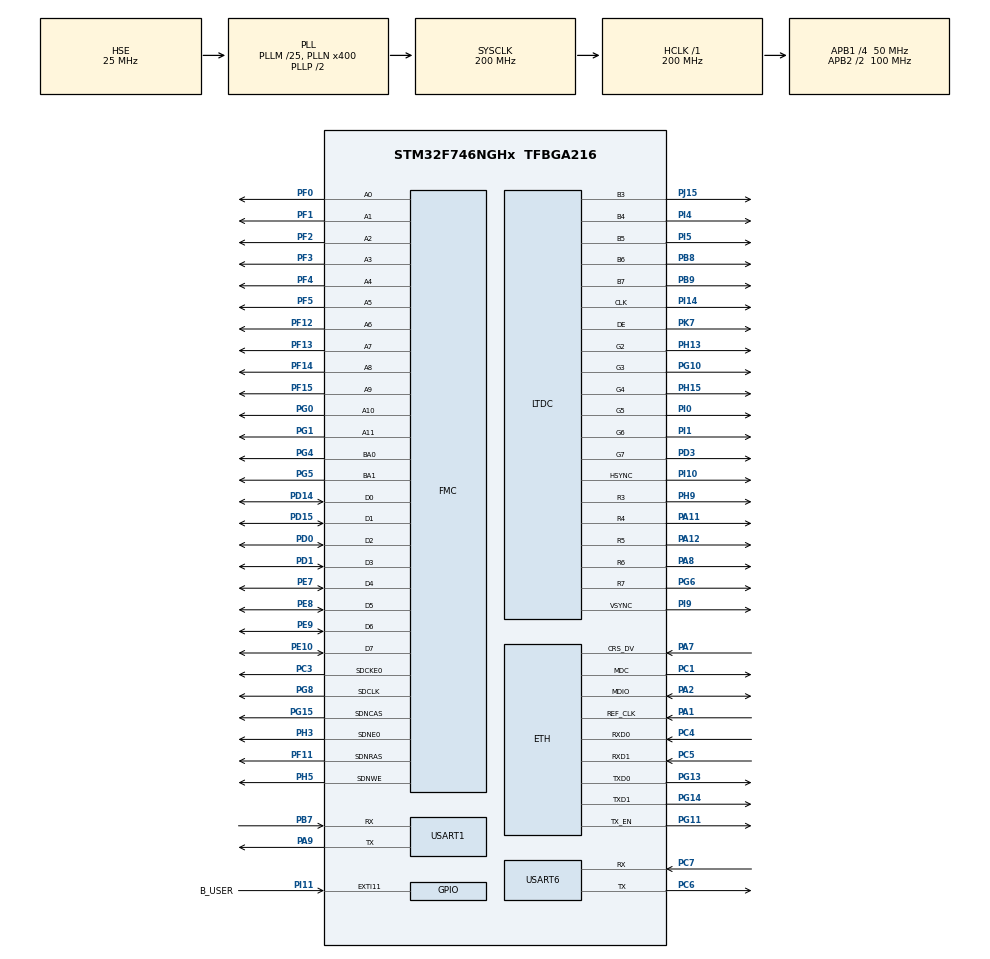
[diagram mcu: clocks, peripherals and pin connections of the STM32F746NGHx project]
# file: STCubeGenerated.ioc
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CORTEX_M7.AccessPermission-Cortex_Memory_Protection_Unit_Region0_Settings=MPU_REGION_FULL_ACCESS
CORTEX_M7.AccessPermission-Cortex_Memory_Protection_Unit_Region1_Settings=MPU_REGION_FULL_ACCESS
CORTEX_M7.AccessPermission-Cortex_Memory_Protection_Unit_Region2_Settings=MPU_REGION_FULL_ACCESS
CORTEX_M7.BaseAddress-Cortex_Memory_Protection_Unit_Region0_Settings=0x20000000
CORTEX_M7.BaseAddress-Cortex_Memory_Protection_Unit_Region1_Settings=0x2004C000
CORTEX_M7.BaseAddress-Cortex_Memory_Protection_Unit_Region2_Settings=0xC0000000
CORTEX_M7.CPU_DCache=Enabled
CORTEX_M7.CPU_ICache=Enabled
CORTEX_M7.DisableExec-Cortex_Memory_Protection_Unit_Region0_Settings=MPU_INSTRUCTION_ACCESS_DISABLE
CORTEX_M7.DisableExec-Cortex_Memory_Protection_Unit_Region1_Settings=MPU_INSTRUCTION_ACCESS_DISABLE
CORTEX_M7.DisableExec-Cortex_Memory_Protection_Unit_Region2_Settings=MPU_INSTRUCTION_ACCESS_DISABLE
CORTEX_M7.Enable-Cortex_Memory_Protection_Unit_Region0_Settings=MPU_REGION_ENABLE
CORTEX_M7.Enable-Cortex_Memory_Protection_Unit_Region1_Settings=MPU_REGION_ENABLE
CORTEX_M7.Enable-Cortex_Memory_Protection_Unit_Region2_Settings=MPU_REGION_ENABLE
CORTEX_M7.IsBufferable-Cortex_Memory_Protection_Unit_Region0_Settings=MPU_ACCESS_BUFFERABLE
CORTEX_M7.IsCacheable-Cortex_Memory_Protection_Unit_Region0_Settings=MPU_ACCESS_CACHEABLE
CORTEX_M7.IsShareable-Cortex_Memory_Protection_Unit_Region0_Settings=MPU_ACCESS_NOT_SHAREABLE
CORTEX_M7.MPU_Control=MPU_PRIVILEGED_DEFAULT
CORTEX_M7.Size-Cortex_Memory_Protection_Unit_Region0_Settings=MPU_REGION_SIZE_512KB
CORTEX_M7.Size-Cortex_Memory_Protection_Unit_Region1_Settings=MPU_REGION_SIZE_16KB
CORTEX_M7.Size-Cortex_Memory_Protection_Unit_Region2_Settings=MPU_REGION_SIZE_16MB
CORTEX_M7.TypeExtField-Cortex_Memory_Protection_Unit_Region0_Settings=MPU_TEX_LEVEL1
CORTEX_M7.TypeExtField-Cortex_Memory_Protection_Unit_Region1_Settings=MPU_TEX_LEVEL1
CORTEX_M7.TypeExtField-Cortex_Memory_Protection_Unit_Region2_Settings=MPU_TEX_LEVEL1
ETH.MediaInterface=HAL_ETH_RMII_MODE
Mcu.Family=STM32F7
Mcu.Name=STM32F746NGHx
Mcu.Package=TFBGA216
NVIC.ETH_IRQn=true\:0\:0\:false\:false\:false\:true\:true\:true
NVIC.EXTI15_10_IRQn=true\:0\:0\:false\:false\:true\:true\:true\:true
NVIC.PriorityGroup=NVIC_PRIORITYGROUP_4
NVIC.USART1_IRQn=true\:0\:0\:false\:false\:true\:true\:true\:true
NVIC.USART6_IRQn=true\:0\:0\:false\:false\:true\:true\:true\:true
PA1.Mode=RMII
PA1.Signal=ETH_REF_CLK
PA11.Mode=RGB565
PA11.Signal=LTDC_R4
PA12.Mode=RGB565
PA12.Signal=LTDC_R5
PA2.Mode=RMII
PA2.Signal=ETH_MDIO
PA7.Mode=RMII
PA7.Signal=ETH_CRS_DV
PA8.Mode=RGB565
PA8.Signal=LTDC_R6
PA9.Mode=Asynchronous
PA9.Signal=USART1_TX
PB7.Mode=Asynchronous
PB7.Signal=USART1_RX
PB8.Mode=RGB565
PB8.Signal=LTDC_B6
PB9.Mode=RGB565
PB9.Signal=LTDC_B7
PC1.Mode=RMII
PC1.Signal=ETH_MDC
PC3.Mode=SdramChipSelect1_1
PC3.Signal=FMC_SDCKE0
PC4.Mode=RMII
PC4.Signal=ETH_RXD0
PC5.Mode=RMII
PC5.Signal=ETH_RXD1
PC6.Mode=Asynchronous
PC6.Signal=USART6_TX
PC7.Mode=Asynchronous
PC7.Signal=USART6_RX
PD0.Signal=FMC_D2_DA2
PD1.Signal=FMC_D3_DA3
PD10.Signal=FMC_D15_DA15
PD11.Signal=FMC_A16_CLE
PD14.Signal=FMC_D0_DA0
PD15.Signal=FMC_D1_DA1
PD3.Mode=RGB565
PD3.Signal=LTDC_G7
PD8.Signal=FMC_D13_DA13
PD9.Signal=FMC_D14_DA14
PE0.Signal=FMC_NBL0
PE1.Signal=FMC_NBL1
PE10.Signal=FMC_D7_DA7
PE11.Signal=FMC_D8_DA8
PE12.Signal=FMC_D9_DA9
PE13.Signal=FMC_D10_DA10
PE14.Signal=FMC_D11_DA11
PE15.Signal=FMC_D12_DA12
PE7.Signal=FMC_D4_DA4
PE8.Signal=FMC_D5_DA5
PE9.Signal=FMC_D6_DA6
PF0.Signal=FMC_A0
PF1.Signal=FMC_A1
PF11.Signal=FMC_SDNRAS
PF12.Signal=FMC_A6
PF13.Signal=FMC_A7
PF14.Signal=FMC_A8
PF15.Signal=FMC_A9
PF2.Signal=FMC_A2
PF3.Signal=FMC_A3
PF4.Signal=FMC_A4
PF5.Signal=FMC_A5
PG0.Signal=FMC_A10
PG1.Signal=FMC_A11
PG10.Mode=RGB565
PG10.Signal=LTDC_G3
PG11.Mode=RMII
PG11.Signal=ETH_TX_EN
PG13.Mode=RMII
PG13.Signal=ETH_TXD0
PG14.Mode=RMII
PG14.Signal=ETH_TXD1
PG15.Signal=FMC_SDNCAS
PG4.Signal=FMC_A14_BA0
PG5.Signal=FMC_A15_BA1
PG6.Mode=RGB565
PG6.Signal=LTDC_R7
PG8.Signal=FMC_SDCLK
PH0/OSC_IN.Mode=HSE-External-Oscillator
PH0/OSC_IN.Signal=RCC_OSC_IN
PH1/OSC_OUT.Mode=HSE-External-Oscillator
PH1/OSC_OUT.Signal=RCC_OSC_OUT
PH13.Mode=RGB565
PH13.Signal=LTDC_G2
PH15.Mode=RGB565
PH15.Signal=LTDC_G4
PH3.Mode=SdramChipSelect1_1
PH3.Signal=FMC_SDNE0
PH5.Signal=FMC_SDNWE
PH9.Mode=RGB565
PH9.Signal=LTDC_R3
PI0.Mode=RGB565
PI0.Signal=LTDC_G5
PI1.Mode=RGB565
PI1.Signal=LTDC_G6
PI10.Mode=RGB565
PI10.Signal=LTDC_HSYNC
PI11.GPIO_Label=B_USER
PI11.Signal=GPXTI11
PI14.Mode=RGB565
PI14.Signal=LTDC_CLK
PI4.Mode=RGB565
PI4.Signal=LTDC_B4
PI5.Mode=RGB565
PI5.Signal=LTDC_B5
PI9.Mode=RGB565
PI9.Signal=LTDC_VSYNC
PJ15.Mode=RGB565
PJ15.Signal=LTDC_B3
PK7.Mode=RGB565
PK7.Signal=LTDC_DE
ProjectManager.HeapSize=0x200
ProjectManager.StackSize=0x400
ProjectManager.TargetToolchain=MDK-ARM V5
RCC.AHBFreq_Value=200000000
RCC.APB1CLKDivider=RCC_HCLK_DIV4
RCC.APB1Freq_Value=50000000
RCC.APB1TimFreq_Value=100000000
RCC.APB2CLKDivider=RCC_HCLK_DIV2
RCC.APB2Freq_Value=100000000
RCC.APB2TimFreq_Value=200000000
RCC.CortexFreq_Value=200000000
RCC.HCLKFreq_Value=200000000
RCC.HSE_VALUE=25000000
RCC.HSI_VALUE=16000000
RCC.LSE_VALUE=32768
RCC.PLLM=25
RCC.PLLN=400
RCC.PLLSAIRDiv=RCC_PLLSAIDIVR_4
RCC.PLLSourceVirtual=RCC_PLLSOURCE_HSE
RCC.SYSCLKFreq_VALUE=200000000
RCC.SYSCLKSource=RCC_SYSCLKSOURCE_PLLCLK
RCC.USBFreq_Value=200000000
RCC.VCOOutputFreq_Value=400000000
SH.FMC_A0.0=FMC_A0,12b-sda1
SH.FMC_A1.0=FMC_A1,12b-sda1
SH.FMC_A10.0=FMC_A10,12b-sda1
SH.FMC_A11.0=FMC_A11,12b-sda1
SH.FMC_A14_BA0.0=FMC_BA0,FourSdramBanks1
SH.FMC_A15_BA1.0=FMC_BA1,FourSdramBanks1
SH.FMC_A16_CLE.0=FMC_A16
SH.FMC_A2.0=FMC_A2,12b-sda1
SH.FMC_A3.0=FMC_A3,12b-sda1
SH.FMC_A4.0=FMC_A4,12b-sda1
SH.FMC_A5.0=FMC_A5,12b-sda1
SH.FMC_A6.0=FMC_A6,12b-sda1
SH.FMC_A7.0=FMC_A7,12b-sda1
SH.FMC_A8.0=FMC_A8,12b-sda1
SH.FMC_A9.0=FMC_A9,12b-sda1
SH.FMC_D0_DA0.0=FMC_D0,sd-8b-d1
SH.FMC_D10_DA10.0=FMC_D10
SH.FMC_D11_DA11.0=FMC_D11
SH.FMC_D12_DA12.0=FMC_D12
SH.FMC_D13_DA13.0=FMC_D13
SH.FMC_D14_DA14.0=FMC_D14
SH.FMC_D15_DA15.0=FMC_D15
SH.FMC_D1_DA1.0=FMC_D1,sd-8b-d1
SH.FMC_D2_DA2.0=FMC_D2,sd-8b-d1
SH.FMC_D3_DA3.0=FMC_D3,sd-8b-d1
SH.FMC_D4_DA4.0=FMC_D4,sd-8b-d1
SH.FMC_D5_DA5.0=FMC_D5,sd-8b-d1
SH.FMC_D6_DA6.0=FMC_D6,sd-8b-d1
SH.FMC_D7_DA7.0=FMC_D7,sd-8b-d1
SH.FMC_D8_DA8.0=FMC_D8
SH.FMC_D9_DA9.0=FMC_D9
SH.FMC_NBL0.0=FMC_NBL0
SH.FMC_NBL1.0=FMC_NBL1
SH.FMC_SDCLK.0=FMC_SDCLK,12b-sda1
SH.FMC_SDNCAS.0=FMC_SDNCAS,12b-sda1
SH.FMC_SDNRAS.0=FMC_SDNRAS,12b-sda1
SH.FMC_SDNWE.0=FMC_SDNWE,12b-sda1
USART1.VirtualMode-Asynchronous=VM_ASYNC
USART6.OverrunDisableParam=ADVFEATURE_OVERRUN_DISABLE
USART6.VirtualMode-Asynchronous=VM_ASYNC
VP_DMA2D_VS_DMA2D.Mode=DMA2D_Activate
board=STCubeGenerated

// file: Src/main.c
/* USER CODE BEGIN Header */
/**
  ******************************************************************************
  * @file           : main.c
  * @brief          : Main program body
  ******************************************************************************
  * @attention
  *
  * <h2><center>&copy; Copyright (c) 2019 STMicroelectronics.
  * All rights reserved.</center></h2>
  *
  * This software component is licensed by ST under BSD 3-Clause license,
  * the "License"; You may not use this file except in compliance with the
  * License. You may obtain a copy of the License at:
  *                        opensource.org/licenses/BSD-3-Clause
  *
  ******************************************************************************
  */
/* USER CODE END Header */
#include "main.h"
#include "string.h"

/* USER CODE BEGIN Includes */
#include <stdio.h>
/* USER CODE END Includes */

#if defined ( __ICCARM__ ) /*!< IAR Compiler */
#pragma location=0x2004c000
ETH_DMADescTypeDef  DMARxDscrTab[ETH_RX_DESC_CNT]; /* Ethernet Rx DMA Descriptors */
#pragma location=0x2004c0a0
ETH_DMADescTypeDef  DMATxDscrTab[ETH_TX_DESC_CNT]; /* Ethernet Tx DMA Descriptors */

#elif defined ( __CC_ARM )  /* MDK ARM Compiler */

__attribute__((at(0x2004c000))) ETH_DMADescTypeDef  DMARxDscrTab[ETH_RX_DESC_CNT]; /* Ethernet Rx DMA Descriptors */
__attribute__((at(0x2004c0a0))) ETH_DMADescTypeDef  DMATxDscrTab[ETH_TX_DESC_CNT]; /* Ethernet Tx DMA Descriptors */

#elif defined ( __GNUC__ ) /* GNU Compiler */
ETH_DMADescTypeDef DMARxDscrTab[ETH_RX_DESC_CNT] __attribute__((section(".RxDecripSection"))); /* Ethernet Rx DMA Descriptors */
ETH_DMADescTypeDef DMATxDscrTab[ETH_TX_DESC_CNT] __attribute__((section(".TxDecripSection")));   /* Ethernet Tx DMA Descriptors */

#endif

ETH_TxPacketConfig TxConfig;

DMA2D_HandleTypeDef hdma2d;

ETH_HandleTypeDef heth;

LTDC_HandleTypeDef hltdc;

UART_HandleTypeDef huart1;
UART_HandleTypeDef huart6;

SDRAM_HandleTypeDef hsdram1;

/* USER CODE BEGIN PV */
/* Private variables ---------------------------------------------------------*/
uint8_t data_uart6;
uint8_t data_uart1;
/* USER CODE END PV */

void SystemClock_Config(void);
static void MPU_Initialize(void);
static void MPU_Config(void);
static void MX_GPIO_Init(void);
static void MX_FMC_Init(void);
static void MX_USART1_UART_Init(void);
static void MX_DMA2D_Init(void);
static void MX_USART6_UART_Init(void);
/* USER CODE BEGIN PFP */
/* Private function prototypes -----------------------------------------------*/
extern void BSP_SDRAM_Init(void);
/* USER CODE END PFP */

/* USER CODE BEGIN 0 */
/**
  * Override default HAL_GetTick function
  */
uint32_t HAL_GetTick (void) {
  static uint32_t ticks = 0U;
         uint32_t i;

  if (osKernelGetState () == osKernelRunning) {
    return ((uint32_t)osKernelGetTickCount ());
  }

  /* If Kernel is not running wait approximately 1 ms then increment
     and return auxiliary tick counter value */
  for (i = (SystemCoreClock >> 14U); i > 0U; i--) {
    __NOP(); __NOP(); __NOP(); __NOP(); __NOP(); __NOP();
    __NOP(); __NOP(); __NOP(); __NOP(); __NOP(); __NOP();
  }
  return ++ticks;
}

/**
  * Override default HAL_InitTick function
  */
HAL_StatusTypeDef HAL_InitTick(uint32_t TickPriority) {

  UNUSED(TickPriority);

  return HAL_OK;
}
/* USER CODE END 0 */

int main(void)
{

  /* Enable I-Cache---------------------------------------------------------*/
  SCB_EnableICache();

  /* Enable D-Cache---------------------------------------------------------*/
  SCB_EnableDCache();

  /* MCU Configuration--------------------------------------------------------*/

  /* Reset of all peripherals, Initializes the Flash interface and the Systick. */
  HAL_Init();

  /* MPU Configuration--------------------------------------------------------*/
  MPU_Config();

  /* USER CODE BEGIN Init */
  BSP_SDRAM_Init();                           /* Initialize BSP SDRAM           */
  /* USER CODE END Init */

  /* Configure the system clock */
  SystemClock_Config();

  /* USER CODE BEGIN SysInit */
  SystemCoreClockUpdate();
  /* USER CODE END SysInit */

  /* Initialize all configured peripherals */
  MX_GPIO_Init();
  MX_USART1_UART_Init();
  MX_DMA2D_Init();
  MX_USART6_UART_Init();
  /* USER CODE BEGIN 2 */

	//HAL_UART_Receive_IT(&huart1,&data_uart1,1);
	HAL_UART_Receive_IT(&huart6,&data_uart6,1);

	/* Initialize CMSIS-RTOS2 */
  osKernelInitialize ();

  /* Create application main thread */
  osThreadNew(app_main, NULL, &app_main_attr);

  /* Start thread execution */
  osKernelStart();

  /* USER CODE END 2 */

  /* Infinite loop */
  while (1)
  {

  }
}

void SystemClock_Config(void)
{
  RCC_OscInitTypeDef RCC_OscInitStruct = {0};
  RCC_ClkInitTypeDef RCC_ClkInitStruct = {0};

  /** Configure the main internal regulator output voltage
  */
  __HAL_RCC_PWR_CLK_ENABLE();
  __HAL_PWR_VOLTAGESCALING_CONFIG(PWR_REGULATOR_VOLTAGE_SCALE1);

  /** Initializes the RCC Oscillators according to the specified parameters
  * in the RCC_OscInitTypeDef structure.
  */
  RCC_OscInitStruct.OscillatorType = RCC_OSCILLATORTYPE_HSE;
  RCC_OscInitStruct.HSEState = RCC_HSE_ON;
  RCC_OscInitStruct.PLL.PLLState = RCC_PLL_ON;
  RCC_OscInitStruct.PLL.PLLSource = RCC_PLLSOURCE_HSE;
  RCC_OscInitStruct.PLL.PLLM = 25;
  RCC_OscInitStruct.PLL.PLLN = 400;
  RCC_OscInitStruct.PLL.PLLP = RCC_PLLP_DIV2;
  RCC_OscInitStruct.PLL.PLLQ = 2;
  if (HAL_RCC_OscConfig(&RCC_OscInitStruct) != HAL_OK)
  {
    Error_Handler();
  }

  /** Activate the Over-Drive mode
  */
  if (HAL_PWREx_EnableOverDrive() != HAL_OK)
  {
    Error_Handler();
  }

  /** Initializes the CPU, AHB and APB buses clocks
  */
  RCC_ClkInitStruct.ClockType = RCC_CLOCKTYPE_HCLK|RCC_CLOCKTYPE_SYSCLK
                              |RCC_CLOCKTYPE_PCLK1|RCC_CLOCKTYPE_PCLK2;
  RCC_ClkInitStruct.SYSCLKSource = RCC_SYSCLKSOURCE_PLLCLK;
  RCC_ClkInitStruct.AHBCLKDivider = RCC_SYSCLK_DIV1;
  RCC_ClkInitStruct.APB1CLKDivider = RCC_HCLK_DIV4;
  RCC_ClkInitStruct.APB2CLKDivider = RCC_HCLK_DIV2;

  if (HAL_RCC_ClockConfig(&RCC_ClkInitStruct, FLASH_LATENCY_6) != HAL_OK)
  {
    Error_Handler();
  }
}

static void MX_DMA2D_Init(void)
{

  hdma2d.Instance = DMA2D;
  hdma2d.Init.Mode = DMA2D_M2M;
  hdma2d.Init.ColorMode = DMA2D_OUTPUT_ARGB8888;
  hdma2d.Init.OutputOffset = 0;
  hdma2d.LayerCfg[1].InputOffset = 0;
  hdma2d.LayerCfg[1].InputColorMode = DMA2D_INPUT_ARGB8888;
  hdma2d.LayerCfg[1].AlphaMode = DMA2D_NO_MODIF_ALPHA;
  hdma2d.LayerCfg[1].InputAlpha = 0;
  if (HAL_DMA2D_Init(&hdma2d) != HAL_OK)
  {
    Error_Handler();
  }
  if (HAL_DMA2D_ConfigLayer(&hdma2d, 1) != HAL_OK)
  {
    Error_Handler();
  }

}

void MX_ETH_Init(void)
{

   static uint8_t MACAddr[6];

  heth.Instance = ETH;
  MACAddr[0] = 0x00;
  MACAddr[1] = 0x80;
  MACAddr[2] = 0xE1;
  MACAddr[3] = 0x00;
  MACAddr[4] = 0x00;
  MACAddr[5] = 0x00;
  heth.Init.MACAddr = &MACAddr[0];
  heth.Init.MediaInterface = HAL_ETH_RMII_MODE;
  heth.Init.TxDesc = DMATxDscrTab;
  heth.Init.RxDesc = DMARxDscrTab;
  heth.Init.RxBuffLen = 1524;

  if (HAL_ETH_Init(&heth) != HAL_OK)
  {
    Error_Handler();
  }

  memset(&TxConfig, 0 , sizeof(ETH_TxPacketConfig));
  TxConfig.Attributes = ETH_TX_PACKETS_FEATURES_CSUM | ETH_TX_PACKETS_FEATURES_CRCPAD;
  TxConfig.ChecksumCtrl = ETH_CHECKSUM_IPHDR_PAYLOAD_INSERT_PHDR_CALC;
  TxConfig.CRCPadCtrl = ETH_CRC_PAD_INSERT;

}

void MX_LTDC_Init(void)
{

  LTDC_LayerCfgTypeDef pLayerCfg = {0};
  LTDC_LayerCfgTypeDef pLayerCfg1 = {0};

  hltdc.Instance = LTDC;
  hltdc.Init.HSPolarity = LTDC_HSPOLARITY_AL;
  hltdc.Init.VSPolarity = LTDC_VSPOLARITY_AL;
  hltdc.Init.DEPolarity = LTDC_DEPOLARITY_AL;
  hltdc.Init.PCPolarity = LTDC_PCPOLARITY_IPC;
  hltdc.Init.HorizontalSync = 7;
  hltdc.Init.VerticalSync = 3;
  hltdc.Init.AccumulatedHBP = 14;
  hltdc.Init.AccumulatedVBP = 5;
  hltdc.Init.AccumulatedActiveW = 654;
  hltdc.Init.AccumulatedActiveH = 485;
  hltdc.Init.TotalWidth = 660;
  hltdc.Init.TotalHeigh = 487;
  hltdc.Init.Backcolor.Blue = 0;
  hltdc.Init.Backcolor.Green = 0;
  hltdc.Init.Backcolor.Red = 0;
  if (HAL_LTDC_Init(&hltdc) != HAL_OK)
  {
    Error_Handler();
  }
  pLayerCfg.WindowX0 = 0;
  pLayerCfg.WindowX1 = 0;
  pLayerCfg.WindowY0 = 0;
  pLayerCfg.WindowY1 = 0;
  pLayerCfg.PixelFormat = LTDC_PIXEL_FORMAT_ARGB8888;
  pLayerCfg.Alpha = 0;
  pLayerCfg.Alpha0 = 0;
  pLayerCfg.BlendingFactor1 = LTDC_BLENDING_FACTOR1_CA;
  pLayerCfg.BlendingFactor2 = LTDC_BLENDING_FACTOR2_CA;
  pLayerCfg.FBStartAdress = 0;
  pLayerCfg.ImageWidth = 0;
  pLayerCfg.ImageHeight = 0;
  pLayerCfg.Backcolor.Blue = 0;
  pLayerCfg.Backcolor.Green = 0;
  pLayerCfg.Backcolor.Red = 0;
  if (HAL_LTDC_ConfigLayer(&hltdc, &pLayerCfg, 0) != HAL_OK)
  {
    Error_Handler();
  }
  pLayerCfg1.WindowX0 = 0;
  pLayerCfg1.WindowX1 = 0;
  pLayerCfg1.WindowY0 = 0;
  pLayerCfg1.WindowY1 = 0;
  pLayerCfg1.PixelFormat = LTDC_PIXEL_FORMAT_ARGB8888;
  pLayerCfg1.Alpha = 0;
  pLayerCfg1.Alpha0 = 0;
  pLayerCfg1.BlendingFactor1 = LTDC_BLENDING_FACTOR1_CA;
  pLayerCfg1.BlendingFactor2 = LTDC_BLENDING_FACTOR2_CA;
  pLayerCfg1.FBStartAdress = 0;
  pLayerCfg1.ImageWidth = 0;
  pLayerCfg1.ImageHeight = 0;
  pLayerCfg1.Backcolor.Blue = 0;
  pLayerCfg1.Backcolor.Green = 0;
  pLayerCfg1.Backcolor.Red = 0;
  if (HAL_LTDC_ConfigLayer(&hltdc, &pLayerCfg1, 1) != HAL_OK)
  {
    Error_Handler();
  }

}

static void MX_USART1_UART_Init(void)
{

  huart1.Instance = USART1;
  huart1.Init.BaudRate = 115200;
  huart1.Init.WordLength = UART_WORDLENGTH_8B;
  huart1.Init.StopBits = UART_STOPBITS_1;
  huart1.Init.Parity = UART_PARITY_NONE;
  huart1.Init.Mode = UART_MODE_TX_RX;
  huart1.Init.HwFlowCtl = UART_HWCONTROL_NONE;
  huart1.Init.OverSampling = UART_OVERSAMPLING_16;
  huart1.Init.OneBitSampling = UART_ONE_BIT_SAMPLE_DISABLE;
  huart1.AdvancedInit.AdvFeatureInit = UART_ADVFEATURE_NO_INIT;
  if (HAL_UART_Init(&huart1) != HAL_OK)
  {
    Error_Handler();
  }

}

static void MX_USART6_UART_Init(void)
{

  huart6.Instance = USART6;
  huart6.Init.BaudRate = 115200;
  huart6.Init.WordLength = UART_WORDLENGTH_8B;
  huart6.Init.StopBits = UART_STOPBITS_1;
  huart6.Init.Parity = UART_PARITY_NONE;
  huart6.Init.Mode = UART_MODE_TX_RX;
  huart6.Init.HwFlowCtl = UART_HWCONTROL_NONE;
  huart6.Init.OverSampling = UART_OVERSAMPLING_16;
  huart6.Init.OneBitSampling = UART_ONE_BIT_SAMPLE_DISABLE;
  huart6.AdvancedInit.AdvFeatureInit = UART_ADVFEATURE_RXOVERRUNDISABLE_INIT;
  huart6.AdvancedInit.OverrunDisable = UART_ADVFEATURE_OVERRUN_DISABLE;
  if (HAL_UART_Init(&huart6) != HAL_OK)
  {
    Error_Handler();
  }

}

/* FMC initialization function */
static void MX_FMC_Init(void)
{

  FMC_SDRAM_TimingTypeDef SdramTiming = {0};

  /** Perform the SDRAM1 memory initialization sequence
  */
  hsdram1.Instance = FMC_SDRAM_DEVICE;
  /* hsdram1.Init */
  hsdram1.Init.SDBank = FMC_SDRAM_BANK1;
  hsdram1.Init.ColumnBitsNumber = FMC_SDRAM_COLUMN_BITS_NUM_8;
  hsdram1.Init.RowBitsNumber = FMC_SDRAM_ROW_BITS_NUM_12;
  hsdram1.Init.MemoryDataWidth = FMC_SDRAM_MEM_BUS_WIDTH_8;
  hsdram1.Init.InternalBankNumber = FMC_SDRAM_INTERN_BANKS_NUM_4;
  hsdram1.Init.CASLatency = FMC_SDRAM_CAS_LATENCY_1;
  hsdram1.Init.WriteProtection = FMC_SDRAM_WRITE_PROTECTION_DISABLE;
  hsdram1.Init.SDClockPeriod = FMC_SDRAM_CLOCK_DISABLE;
  hsdram1.Init.ReadBurst = FMC_SDRAM_RBURST_DISABLE;
  hsdram1.Init.ReadPipeDelay = FMC_SDRAM_RPIPE_DELAY_0;
  /* SdramTiming */
  SdramTiming.LoadToActiveDelay = 16;
  SdramTiming.ExitSelfRefreshDelay = 16;
  SdramTiming.SelfRefreshTime = 16;
  SdramTiming.RowCycleDelay = 16;
  SdramTiming.WriteRecoveryTime = 16;
  SdramTiming.RPDelay = 16;
  SdramTiming.RCDDelay = 16;

  if (HAL_SDRAM_Init(&hsdram1, &SdramTiming) != HAL_OK)
  {
    Error_Handler( );
  }

}

static void MX_GPIO_Init(void)
{
  GPIO_InitTypeDef GPIO_InitStruct = {0};

  /* GPIO Ports Clock Enable */
  __HAL_RCC_GPIOG_CLK_ENABLE();
  __HAL_RCC_GPIOE_CLK_ENABLE();
  __HAL_RCC_GPIOB_CLK_ENABLE();
  __HAL_RCC_GPIOD_CLK_ENABLE();
  __HAL_RCC_GPIOA_CLK_ENABLE();
  __HAL_RCC_GPIOI_CLK_ENABLE();
  __HAL_RCC_GPIOK_CLK_ENABLE();
  __HAL_RCC_GPIOF_CLK_ENABLE();
  __HAL_RCC_GPIOJ_CLK_ENABLE();
  __HAL_RCC_GPIOH_CLK_ENABLE();
  __HAL_RCC_GPIOC_CLK_ENABLE();

  /*Configure GPIO pin : B_USER_Pin */
  GPIO_InitStruct.Pin = B_USER_Pin;
  GPIO_InitStruct.Mode = GPIO_MODE_IT_RISING;
  GPIO_InitStruct.Pull = GPIO_NOPULL;
  HAL_GPIO_Init(B_USER_GPIO_Port, &GPIO_InitStruct);

  /* EXTI interrupt init*/
  HAL_NVIC_SetPriority(EXTI15_10_IRQn, 0, 0);
  HAL_NVIC_EnableIRQ(EXTI15_10_IRQn);

}

/* USER CODE BEGIN 4 */

void HAL_UART_RxCpltCallback(UART_HandleTypeDef *huart)
{
	if(huart==&huart6)
	{
		huart1.Instance->TDR=data_uart6;
		HAL_UART_Receive_IT(&huart6,&data_uart6,1);
	}

/*	if(huart==&huart1)
	{
		huart6.Instance->TDR=data_uart1;
		HAL_UART_Receive_IT(&huart1,&data_uart1,1);
	}*/
}

/**
  * @brief EXTI line detection callbacks
  * @param GPIO_Pin: Specifies the pins connected EXTI line
  * @retval None
  */
void HAL_GPIO_EXTI_Callback(uint16_t GPIO_Pin)
{
  if (GPIO_Pin == B_USER_Pin)
  {
	huart1.Instance->TDR='.';  }
}

/* USER CODE END 4 */

/* MPU Configuration */

void MPU_Config(void)
{
  MPU_Region_InitTypeDef MPU_InitStruct = {0};

  /* Disables the MPU */
  HAL_MPU_Disable();

  /** Initializes and configures the Region and the memory to be protected
  */
  MPU_InitStruct.Enable = MPU_REGION_ENABLE;
  MPU_InitStruct.Number = MPU_REGION_NUMBER0;
  MPU_InitStruct.BaseAddress = 0x20000000;
  MPU_InitStruct.Size = MPU_REGION_SIZE_512KB;
  MPU_InitStruct.SubRegionDisable = 0x0;
  MPU_InitStruct.TypeExtField = MPU_TEX_LEVEL1;
  MPU_InitStruct.AccessPermission = MPU_REGION_FULL_ACCESS;
  MPU_InitStruct.DisableExec = MPU_INSTRUCTION_ACCESS_DISABLE;
  MPU_InitStruct.IsShareable = MPU_ACCESS_NOT_SHAREABLE;
  MPU_InitStruct.IsCacheable = MPU_ACCESS_CACHEABLE;
  MPU_InitStruct.IsBufferable = MPU_ACCESS_BUFFERABLE;

  HAL_MPU_ConfigRegion(&MPU_InitStruct);

  /** Initializes and configures the Region and the memory to be protected
  */
  MPU_InitStruct.Number = MPU_REGION_NUMBER1;
  MPU_InitStruct.BaseAddress = 0x2004C000;
  MPU_InitStruct.Size = MPU_REGION_SIZE_16KB;
  MPU_InitStruct.IsCacheable = MPU_ACCESS_NOT_CACHEABLE;
  MPU_InitStruct.IsBufferable = MPU_ACCESS_NOT_BUFFERABLE;

  HAL_MPU_ConfigRegion(&MPU_InitStruct);

  /** Initializes and configures the Region and the memory to be protected
  */
  MPU_InitStruct.Number = MPU_REGION_NUMBER2;
  MPU_InitStruct.BaseAddress = 0xC0000000;
  MPU_InitStruct.Size = MPU_REGION_SIZE_16MB;

  HAL_MPU_ConfigRegion(&MPU_InitStruct);
  /* Enables the MPU */
  HAL_MPU_Enable(MPU_PRIVILEGED_DEFAULT);

}

void Error_Handler(void)
{
  while(1)
  {
  }
}
